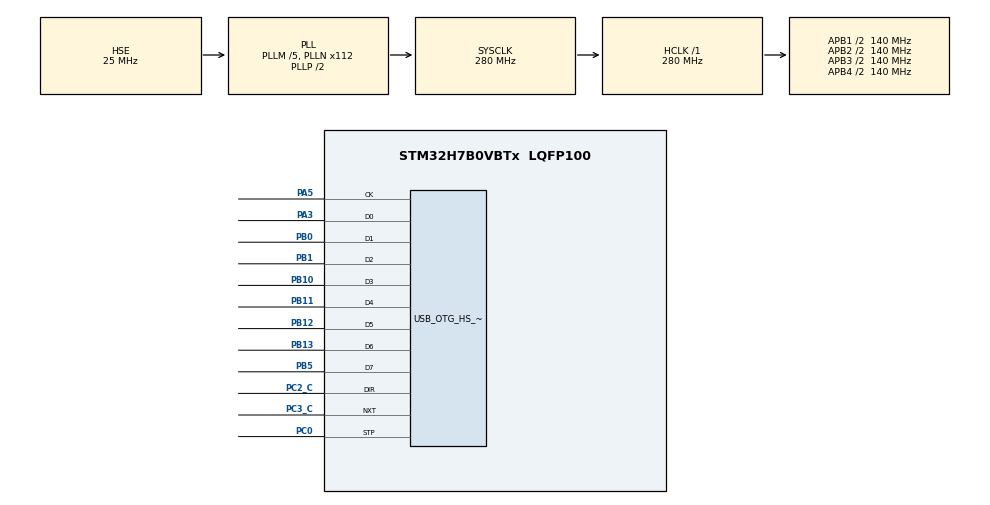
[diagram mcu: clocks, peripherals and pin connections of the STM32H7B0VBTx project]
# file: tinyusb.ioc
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CORTEX_M7.CPU_DCache=Enabled
CORTEX_M7.CPU_ICache=Enabled
Mcu.Family=STM32H7
Mcu.Name=STM32H7B0VBTx
Mcu.Package=LQFP100
NVIC.OTG_HS_IRQn=true\:0\:0\:false\:false\:true\:true\:true\:true
NVIC.PriorityGroup=NVIC_PRIORITYGROUP_4
PA3.Mode=Device_HS
PA3.Signal=USB_OTG_HS_ULPI_D0
PA5.Mode=Device_HS
PA5.Signal=USB_OTG_HS_ULPI_CK
PB0.Mode=Device_HS
PB0.Signal=USB_OTG_HS_ULPI_D1
PB1.Mode=Device_HS
PB1.Signal=USB_OTG_HS_ULPI_D2
PB10.Mode=Device_HS
PB10.Signal=USB_OTG_HS_ULPI_D3
PB11.Mode=Device_HS
PB11.Signal=USB_OTG_HS_ULPI_D4
PB12.Mode=Device_HS
PB12.Signal=USB_OTG_HS_ULPI_D5
PB13.Mode=Device_HS
PB13.Signal=USB_OTG_HS_ULPI_D6
PB5.Mode=Device_HS
PB5.Signal=USB_OTG_HS_ULPI_D7
PC0.Mode=Device_HS
PC0.Signal=USB_OTG_HS_ULPI_STP
PC14-OSC32_IN.Mode=LSE-External-Oscillator
PC14-OSC32_IN.Signal=RCC_OSC32_IN
PC15-OSC32_OUT.Mode=LSE-External-Oscillator
PC15-OSC32_OUT.Signal=RCC_OSC32_OUT
PC2_C.Mode=Device_HS
PC2_C.Signal=USB_OTG_HS_ULPI_DIR
PC3_C.Mode=Device_HS
PC3_C.Signal=USB_OTG_HS_ULPI_NXT
PH0-OSC_IN.Mode=HSE-External-Oscillator
PH0-OSC_IN.Signal=RCC_OSC_IN
PH1-OSC_OUT.Mode=HSE-External-Oscillator
PH1-OSC_OUT.Signal=RCC_OSC_OUT
ProjectManager.HeapSize=0x200
ProjectManager.StackSize=0x400
ProjectManager.TargetToolchain=STM32CubeIDE
RCC.ADCFreq_Value=50390625
RCC.APB1Freq_Value=140000000
RCC.APB2Freq_Value=140000000
RCC.APB3Freq_Value=140000000
RCC.APB4Freq_Value=140000000
RCC.CDPPRE=RCC_APB3_DIV2
RCC.CDPPRE1=RCC_APB1_DIV2
RCC.CDPPRE2=RCC_APB2_DIV2
RCC.CortexFreq_Value=280000000
RCC.DIVM1=5
RCC.DIVM3=25
RCC.DIVN1=112
RCC.DIVN3=192
RCC.DIVQ3=4
RCC.HCLKFreq_Value=280000000
RCC.HSE_VALUE=25000000
RCC.SRDPPRE=RCC_APB4_DIV2
RCC.SYSCLKFreq_VALUE=280000000
RCC.SYSCLKSource=RCC_SYSCLKSOURCE_PLLCLK
RCC.USBCLockSelection=RCC_USBCLKSOURCE_PLL3
RCC.USBFreq_Value=48000000
USB_OTG_HS.VirtualMode-Device_HS=Device_HS
USB_OTG_HS.dma_enable-Device_HS=DISABLE
board=custom

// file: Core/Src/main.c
/* USER CODE BEGIN Header */
/**
  ******************************************************************************
  * @file           : main.c
  * @brief          : Main program body
  ******************************************************************************
  * @attention
  *
  * Copyright (c) 2022 STMicroelectronics.
  * All rights reserved.
  *
  * This software is licensed under terms that can be found in the LICENSE file
  * in the root directory of this software component.
  * If no LICENSE file comes with this software, it is provided AS-IS.
  *
  ******************************************************************************
  */
/* USER CODE END Header */
#include "main.h"

/* USER CODE BEGIN Includes */
#include "tusb.h"
/* USER CODE END Includes */

PCD_HandleTypeDef hpcd_USB_OTG_HS;

/* USER CODE BEGIN PV */
buffer_info buffer_info_axm;

/* USER CODE END PV */

void SystemClock_Config(void);
static void MX_GPIO_Init(void);
static void MX_USB_OTG_HS_PCD_Init(void);

/* USER CODE BEGIN 0 */
void from_host_task(void)
{
	if ((buffer_info_axm.busy == false)) {
		uint count = 0;
		for(count=0; count < BUFFERSIZE; ){
			if (tud_vendor_available()) {
				count += tud_vendor_read(&buffer_info_axm.buffer[count], 512);
			}else{
				tud_task();
			}
		}
		if (count != 0) {
			buffer_info_axm.count = count;
			buffer_info_axm.busy = true;
		}
	}
}

void pmod_task(void)
{
	if (buffer_info_axm.busy == true){
		for(int i=0; i< buffer_info_axm.count/512; i++){
			while(tud_vendor_write(&buffer_info_axm.buffer[i*512], 512) == 0) tud_task();
			tud_vendor_flush();
			buffer_info_axm.busy = false;
		}
	}
}

/* USER CODE END 0 */

int main(void)
{

  /* Enable I-Cache---------------------------------------------------------*/
  SCB_EnableICache();

  /* Enable D-Cache---------------------------------------------------------*/
  SCB_EnableDCache();

  /* MCU Configuration--------------------------------------------------------*/

  /* Reset of all peripherals, Initializes the Flash interface and the Systick. */
  HAL_Init();

  /* Configure the system clock */
  SystemClock_Config();

  /* Initialize all configured peripherals */
  MX_GPIO_Init();
  MX_USB_OTG_HS_PCD_Init();

  /* Infinite loop */
  /* USER CODE BEGIN WHILE */
  tusb_init();
  while (1)
  {
	  tud_task();
	  from_host_task();
	  pmod_task();

    /* USER CODE END WHILE */

  }
}

void SystemClock_Config(void)
{
  RCC_OscInitTypeDef RCC_OscInitStruct = {0};
  RCC_ClkInitTypeDef RCC_ClkInitStruct = {0};

  /*AXI clock gating */
  RCC->CKGAENR = 0xFFFFFFFF;

  /** Supply configuration update enable
  */
  HAL_PWREx_ConfigSupply(PWR_LDO_SUPPLY);

  /** Configure the main internal regulator output voltage
  */
  __HAL_PWR_VOLTAGESCALING_CONFIG(PWR_REGULATOR_VOLTAGE_SCALE0);

  while(!__HAL_PWR_GET_FLAG(PWR_FLAG_VOSRDY)) {}

  /** Macro to configure the PLL clock source
  */
  __HAL_RCC_PLL_PLLSOURCE_CONFIG(RCC_PLLSOURCE_HSE);

  /** Initializes the RCC Oscillators according to the specified parameters
  * in the RCC_OscInitTypeDef structure.
  */
  RCC_OscInitStruct.OscillatorType = RCC_OSCILLATORTYPE_HSE;
  RCC_OscInitStruct.HSEState = RCC_HSE_ON;
  RCC_OscInitStruct.PLL.PLLState = RCC_PLL_ON;
  RCC_OscInitStruct.PLL.PLLSource = RCC_PLLSOURCE_HSE;
  RCC_OscInitStruct.PLL.PLLM = 5;
  RCC_OscInitStruct.PLL.PLLN = 112;
  RCC_OscInitStruct.PLL.PLLP = 2;
  RCC_OscInitStruct.PLL.PLLQ = 2;
  RCC_OscInitStruct.PLL.PLLR = 2;
  RCC_OscInitStruct.PLL.PLLRGE = RCC_PLL1VCIRANGE_2;
  RCC_OscInitStruct.PLL.PLLVCOSEL = RCC_PLL1VCOWIDE;
  RCC_OscInitStruct.PLL.PLLFRACN = 0;
  if (HAL_RCC_OscConfig(&RCC_OscInitStruct) != HAL_OK)
  {
    Error_Handler();
  }

  /** Initializes the CPU, AHB and APB buses clocks
  */
  RCC_ClkInitStruct.ClockType = RCC_CLOCKTYPE_HCLK|RCC_CLOCKTYPE_SYSCLK
                              |RCC_CLOCKTYPE_PCLK1|RCC_CLOCKTYPE_PCLK2
                              |RCC_CLOCKTYPE_D3PCLK1|RCC_CLOCKTYPE_D1PCLK1;
  RCC_ClkInitStruct.SYSCLKSource = RCC_SYSCLKSOURCE_PLLCLK;
  RCC_ClkInitStruct.SYSCLKDivider = RCC_SYSCLK_DIV1;
  RCC_ClkInitStruct.AHBCLKDivider = RCC_HCLK_DIV1;
  RCC_ClkInitStruct.APB3CLKDivider = RCC_APB3_DIV2;
  RCC_ClkInitStruct.APB1CLKDivider = RCC_APB1_DIV2;
  RCC_ClkInitStruct.APB2CLKDivider = RCC_APB2_DIV2;
  RCC_ClkInitStruct.APB4CLKDivider = RCC_APB4_DIV2;

  if (HAL_RCC_ClockConfig(&RCC_ClkInitStruct, FLASH_LATENCY_7) != HAL_OK)
  {
    Error_Handler();
  }
}

static void MX_USB_OTG_HS_PCD_Init(void)
{

  hpcd_USB_OTG_HS.Instance = USB_OTG_HS;
  hpcd_USB_OTG_HS.Init.dev_endpoints = 9;
  hpcd_USB_OTG_HS.Init.speed = PCD_SPEED_HIGH;
  hpcd_USB_OTG_HS.Init.dma_enable = DISABLE;
  hpcd_USB_OTG_HS.Init.phy_itface = USB_OTG_ULPI_PHY;
  hpcd_USB_OTG_HS.Init.Sof_enable = DISABLE;
  hpcd_USB_OTG_HS.Init.low_power_enable = DISABLE;
  hpcd_USB_OTG_HS.Init.lpm_enable = DISABLE;
  hpcd_USB_OTG_HS.Init.vbus_sensing_enable = DISABLE;
  hpcd_USB_OTG_HS.Init.use_dedicated_ep1 = DISABLE;
  hpcd_USB_OTG_HS.Init.use_external_vbus = DISABLE;
  if (HAL_PCD_Init(&hpcd_USB_OTG_HS) != HAL_OK)
  {
    Error_Handler();
  }

}

static void MX_GPIO_Init(void)
{

  /* GPIO Ports Clock Enable */
  __HAL_RCC_GPIOC_CLK_ENABLE();
  __HAL_RCC_GPIOH_CLK_ENABLE();
  __HAL_RCC_GPIOA_CLK_ENABLE();
  __HAL_RCC_GPIOB_CLK_ENABLE();

}

void Error_Handler(void)
{
  __disable_irq();
  while (1)
  {
  }
}
